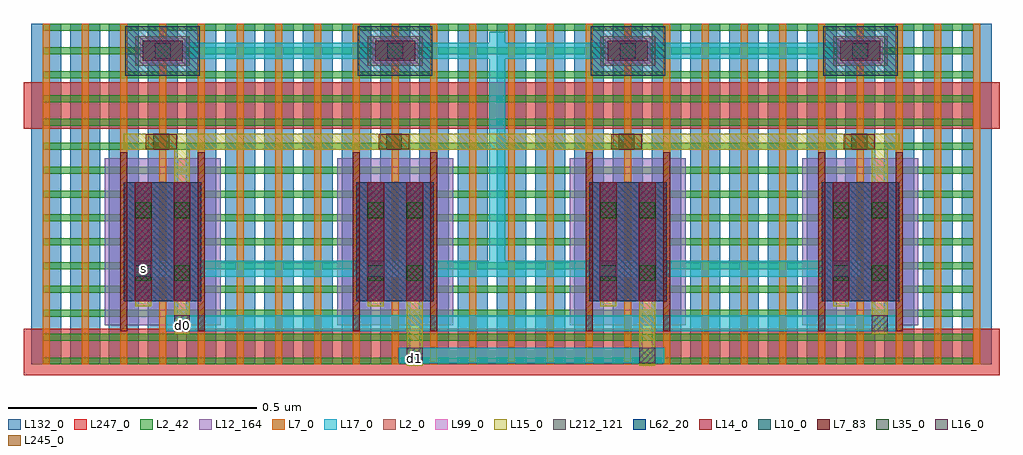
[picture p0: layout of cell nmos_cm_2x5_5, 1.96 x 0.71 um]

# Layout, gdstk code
import gdstk
lib = gdstk.Library(unit=1e-6, precision=1e-12)
def R(c, l, rs):  # rectangles x0, y0, x1, y1
    for r in rs: c.add(gdstk.rectangle(r[:2], r[2:], *l))
def A(c, l, x, y, w, h, nx, ny, dx, dy):  # array of equal rectangles
    R(c, l, [(x+i*dx, y+j*dy, x+i*dx+w, y+j*dy+h) for i in range(nx) for j in range(ny)])
L2_0 = (2, 0)
L2_42 = (2, 42)
L7_0 = (7, 0)
L7_83 = (7, 83)
L10_0 = (10, 0)
L12_164 = (12, 164)
L14_0 = (14, 0)
L15_0 = (15, 0)
L16_0 = (16, 0)
L17_0 = (17, 0)
L35_0 = (35, 0)
L62_20 = (62, 20)
L99_0 = (99, 0)
L132_0 = (132, 0)
L212_121 = (212, 121)
L245_0 = (245, 0)
L247_0 = (247, 0)

nmos_cm_2x5_5 = lib.new_cell('nmos_cm_2x5_5')
A(nmos_cm_2x5_5, L2_0, 0.186, 0.127, 0.156, 0.24, 4, 1, 0.468, 0)
A(nmos_cm_2x5_5, L2_0, 0.209, 0.601, 0.11, 0.06, 4, 1, 0.468, 0)
A(nmos_cm_2x5_5, L2_42, 0.023, 0, 1.872, 0.014, 1, 15, 0, 0.048)
A(nmos_cm_2x5_5, L7_0, 0.023, 0, 0.014, 0.686, 25, 1, 0.078, 0)
R(nmos_cm_2x5_5, L7_83, [(0.179,0.067,0.193,0.427), (0.335,0.067,0.349,0.427), (0.647,0.067,0.661,0.427), (0.803,0.067,0.817,0.427), (1.115,0.067,1.129,0.427), (1.271,0.067,1.285,0.427), (1.583,0.067,1.597,0.427), (1.739,0.067,1.753,0.427)])
A(nmos_cm_2x5_5, L10_0, 0.189, 0.581, 0.15, 0.1, 4, 1, 0.468, 0)
A(nmos_cm_2x5_5, L12_164, 0.147, 0.079, 0.234, 0.336, 4, 1, 0.468, 0)
A(nmos_cm_2x5_5, L14_0, 0.224, 0.611, 0.08, 0.04, 4, 1, 0.468, 0)
R(nmos_cm_2x5_5, L14_0, [(0.208,0.127,0.242,0.367), (0.286,0.127,0.32,0.367), (0.676,0.127,0.71,0.367), (0.754,0.127,0.788,0.367), (1.144,0.127,1.178,0.367), (1.222,0.127,1.256,0.367), (1.612,0.127,1.646,0.367), (1.69,0.127,1.724,0.367)])
A(nmos_cm_2x5_5, L15_0, 0.186, 0.432, 0.156, 0.032, 4, 1, 0.468, 0)
A(nmos_cm_2x5_5, L15_0, 0.224, 0.615, 0.08, 0.032, 4, 1, 0.468, 0)
R(nmos_cm_2x5_5, L15_0, [(0.755,-0.003,0.787,0.122), (1.223,-0.003,1.255,0.122), (0.287,0.062,0.319,0.122), (1.691,0.062,1.723,0.122), (0.209,0.117,0.241,0.367), (0.287,0.117,0.319,0.367), (0.677,0.117,0.709,0.367), (0.755,0.117,0.787,0.367), (1.145,0.117,1.177,0.367), (1.223,0.117,1.255,0.367), (1.613,0.117,1.645,0.367), (1.691,0.117,1.723,0.367), (0.287,0.366,0.319,0.464), (1.691,0.366,1.723,0.464), (0.186,0.432,1.59,0.464)])
A(nmos_cm_2x5_5, L16_0, 0.209, 0.177, 0.032, 0.032, 4, 1, 0.468, 0)
A(nmos_cm_2x5_5, L16_0, 0.248, 0.615, 0.032, 0.032, 4, 1, 0.468, 0)
R(nmos_cm_2x5_5, L16_0, [(0.755,0.002,0.787,0.034), (1.223,0.002,1.255,0.034), (0.287,0.067,0.319,0.099), (1.691,0.067,1.723,0.099)])
A(nmos_cm_2x5_5, L17_0, 0.186, 0.177, 0.078, 0.032, 4, 1, 0.468, 0)
A(nmos_cm_2x5_5, L17_0, 0.224, 0.615, 0.08, 0.032, 4, 1, 0.468, 0)
R(nmos_cm_2x5_5, L17_0, [(0.739,0.002,1.273,0.034), (0.271,0.067,1.741,0.099), (0.186,0.177,1.59,0.209), (0.921,0.177,0.953,0.67), (0.264,0.615,1.668,0.647), (0.342,0.615,1.044,0.647)])
A(nmos_cm_2x5_5, L35_0, 0.2455, 0.432, 0.032, 0.032, 4, 1, 0.468, 0)
A(nmos_cm_2x5_5, L35_0, 0.248, 0.615, 0.032, 0.032, 4, 1, 0.468, 0)
R(nmos_cm_2x5_5, L35_0, [(0.209,0.168,0.241,0.2), (0.287,0.168,0.319,0.2), (0.677,0.168,0.709,0.2), (0.755,0.168,0.787,0.2), (1.145,0.168,1.177,0.2), (1.223,0.168,1.255,0.2), (1.613,0.168,1.645,0.2), (1.691,0.168,1.723,0.2), (0.209,0.294,0.241,0.326), (0.287,0.294,0.319,0.326), (0.677,0.294,0.709,0.326), (0.755,0.294,0.787,0.326), (1.145,0.294,1.177,0.326), (1.223,0.294,1.255,0.326), (1.613,0.294,1.645,0.326), (1.691,0.294,1.723,0.326)])
A(nmos_cm_2x5_5, L62_20, 0.186, 0.127, 0.156, 0.24, 4, 1, 0.468, 0)
A(nmos_cm_2x5_5, L99_0, 0.186, 0.127, 0.156, 0.24, 4, 1, 0.468, 0)
A(nmos_cm_2x5_5, L99_0, 0.219, 0.606, 0.09, 0.05, 4, 1, 0.468, 0)
A(nmos_cm_2x5_5, L132_0, 0, 0, 0.06, 0.686, 25, 1, 0.078, 0)
A(nmos_cm_2x5_5, L212_121, 0.186, 0.127, 0.156, 0.24, 4, 1, 0.468, 0)
A(nmos_cm_2x5_5, L245_0, 0.2305, 0.433, 0.062, 0.03, 4, 1, 0.468, 0)
A(nmos_cm_2x5_5, L247_0, -0.016, -0.022, 0.56, 0.094, 4, 2, 0.468, 0.496)
nmos_cm_2x5_5.add(gdstk.Label('d0', (0.303,0.078), layer=15, texttype=20))
nmos_cm_2x5_5.add(gdstk.Label('d1', (0.771,0.013), layer=15, texttype=20))
nmos_cm_2x5_5.add(gdstk.Label('s', (0.225,0.193), layer=15, texttype=20))

lib.write_gds('nmos_cm_2x5_5.gds')
